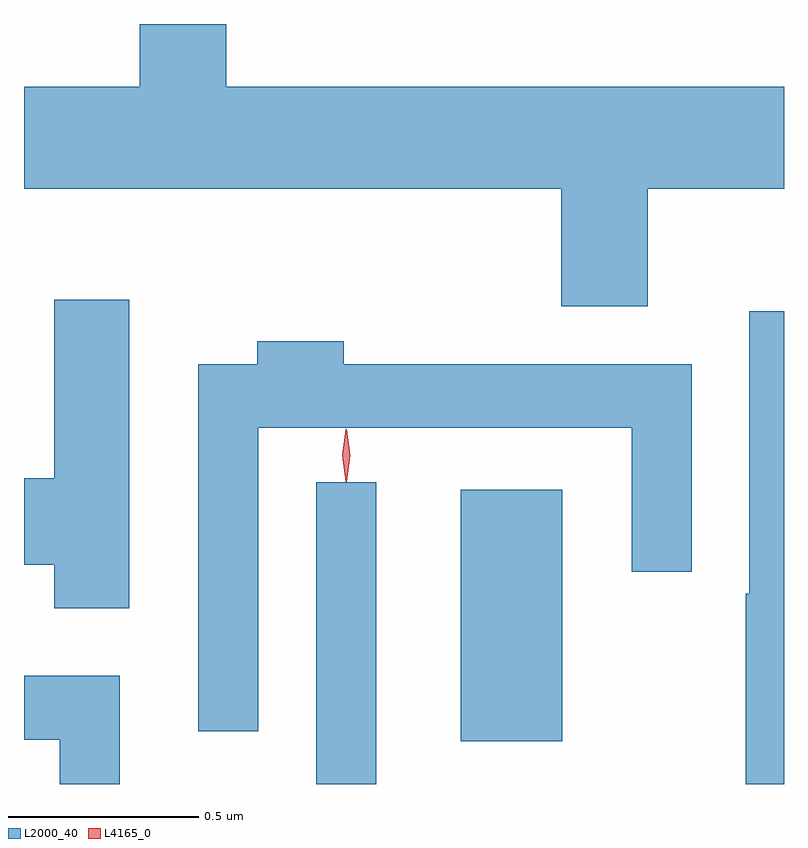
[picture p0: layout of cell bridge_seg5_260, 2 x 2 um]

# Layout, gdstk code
import gdstk
lib = gdstk.Library(unit=1e-6, precision=1e-09)
def R(c, l, rs):  # rectangles x0, y0, x1, y1
    for r in rs: c.add(gdstk.rectangle(r[:2], r[2:], *l))
def P(c, l, *ps):  # polygons
    for p in ps: c.add(gdstk.Polygon(p, *l))
L2000_40 = (2000, 40)
L4165_0 = (4165, 0)

bridge_seg5_260 = lib.new_cell('bridge_seg5_260')
R(bridge_seg5_260, L2000_40, [(1332.276,1430.809,1332.434,1431.603), (1332.656,1430.921,1332.924,1431.584)])
P(bridge_seg5_260, L2000_40, [(1333.149,1432.376),(1333.507,1432.376),(1333.507,1432.644),(1332.039,1432.644),(1332.039,1432.809),(1331.811,1432.809),(1331.811,1432.644),(1331.507,1432.644),(1331.507,1432.376),(1332.921,1432.376),(1332.921,1432.066),(1333.149,1432.066)],
  [(1331.784,1432.084),(1331.586,1432.084),(1331.586,1431.614),(1331.507,1431.614),(1331.507,1431.386),(1331.586,1431.386),(1331.586,1431.271),(1331.784,1431.271)],
  [(1333.507,1432.053),(1333.416,1432.053),(1333.416,1431.31),(1333.406,1431.31),(1333.406,1430.809),(1333.507,1430.809)],
  [(1332.124,1431.746),(1333.106,1431.746),(1333.106,1431.368),(1333.264,1431.368),(1333.264,1431.914),(1332.349,1431.914),(1332.349,1431.974),(1332.121,1431.974),(1332.121,1431.914),(1331.966,1431.914),(1331.966,1430.948),(1332.124,1430.948)],
  [(1331.759,1431.094),(1331.507,1431.094),(1331.507,1430.926),(1331.601,1430.926),(1331.601,1430.809),(1331.759,1430.809)])
P(bridge_seg5_260, L4165_0, [(1332.355,1431.607),(1332.354,1431.608),(1332.345,1431.674),(1332.354,1431.74),(1332.355,1431.741),(1332.356,1431.74),(1332.365,1431.674),(1332.356,1431.608)],
  [(1332.354,1431.604),(1332.345,1431.674),(1332.354,1431.743),(1332.355,1431.743),(1332.356,1431.743),(1332.365,1431.674),(1332.356,1431.604),(1332.355,1431.604)])

lib.write_gds('bridge_seg5_260.gds')
